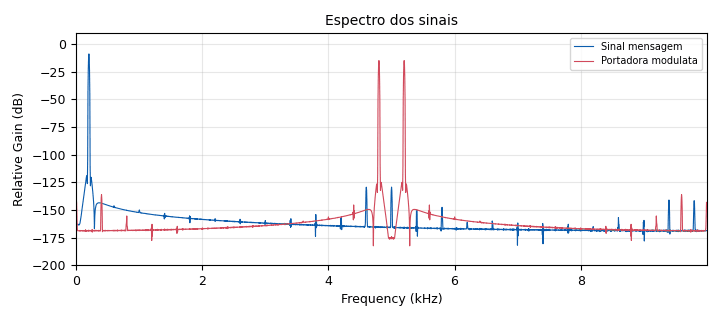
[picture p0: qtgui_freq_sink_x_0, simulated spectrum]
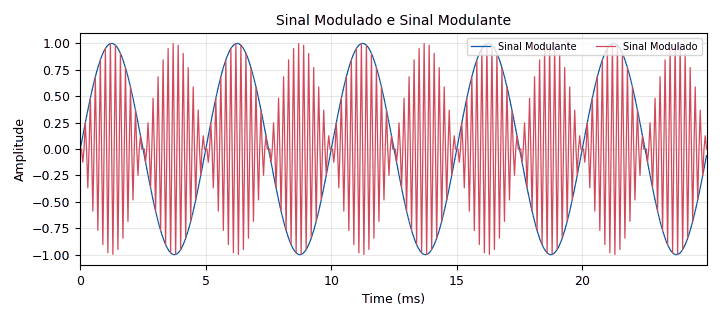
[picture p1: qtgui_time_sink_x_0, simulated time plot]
options:
  parameters:
    category: Custom
    generate_options: qt_gui
    id: Labo3_1
    output_language: python
    title: AM-DSB
  states: {}

blocks:
- name: A
  id: variable_qtgui_range
  parameters:
    gui_hint: 1,0,1,1
    label: Amp. Portadora
    start: '0'
    step: '0.1'
    stop: '3'
    value: '0'
  states: {}
- name: F
  id: variable_qtgui_range
  parameters:
    gui_hint: 2,0,1,1
    label: Freq Portadora
    start: '2000'
    step: '200'
    stop: '8000'
    value: '5000'
  states: {}
- name: samp_rate
  id: variable
  parameters:
    value: '20000'
  states: {}
- name: Amplitude_Portadora
  id: analog_const_source_x
  parameters:
    const: A
    type: float
  states: {}
- name: Portadora
  id: analog_sig_source_x
  parameters:
    amp: '1'
    freq: F
    offset: '0'
    phase: '0'
    samp_rate: samp_rate
    type: float
    waveform: analog.GR_COS_WAVE
  states: {}
- name: Sinal_Modulante
  id: analog_sig_source_x
  parameters:
    amp: '1'
    freq: '200'
    offset: '0'
    phase: '0'
    samp_rate: samp_rate
    type: float
    waveform: analog.GR_SIN_WAVE
  states: {}
- name: blocks_add_xx_0
  id: blocks_add_xx
  parameters:
    type: float
  states: {}
- name: blocks_multiply_xx_0
  id: blocks_multiply_xx
  parameters:
    type: float
  states: {}
- name: blocks_throttle_0
  id: blocks_throttle
  parameters:
    samples_per_second: samp_rate
    type: float
  states: {}
- name: qtgui_freq_sink_x_0
  id: qtgui_freq_sink_x
  parameters:
    bw: samp_rate
    fc: '0'
    fftsize: '4096'
    freqhalf: 'False'
    grid: 'True'
    gui_hint: 0,1,1,1
    label1: Sinal mensagem
    label2: Portadora modulata
    name: Espectro dos sinais
    nconnections: '2'
    norm_window: 'True'
    showports: 'True'
    type: float
    ymin: '-200'
  states: {}
- name: qtgui_time_sink_x_0
  id: qtgui_time_sink_x
  parameters:
    autoscale: 'True'
    grid: 'True'
    gui_hint: 0,0,1,1
    label1: Sinal Modulante
    label2: Sinal Modulado
    name: Sinal Modulado e Sinal Modulante
    nconnections: '2'
    size: '500'
    srate: samp_rate
    tr_level: '1'
    type: float
    ymax: '3'
    ymin: '-3'
  states: {}

connections:
- [Amplitude_Portadora, '0', blocks_add_xx_0, '1']
- [Portadora, '0', blocks_throttle_0, '0']
- [Sinal_Modulante, '0', blocks_add_xx_0, '0']
- [Sinal_Modulante, '0', qtgui_freq_sink_x_0, '0']
- [Sinal_Modulante, '0', qtgui_time_sink_x_0, '0']
- [blocks_add_xx_0, '0', blocks_multiply_xx_0, '0']
- [blocks_multiply_xx_0, '0', qtgui_freq_sink_x_0, '1']
- [blocks_multiply_xx_0, '0', qtgui_time_sink_x_0, '1']
- [blocks_throttle_0, '0', blocks_multiply_xx_0, '1']

metadata:
  file_format: 1
  grc_version: 3.10.7.0
